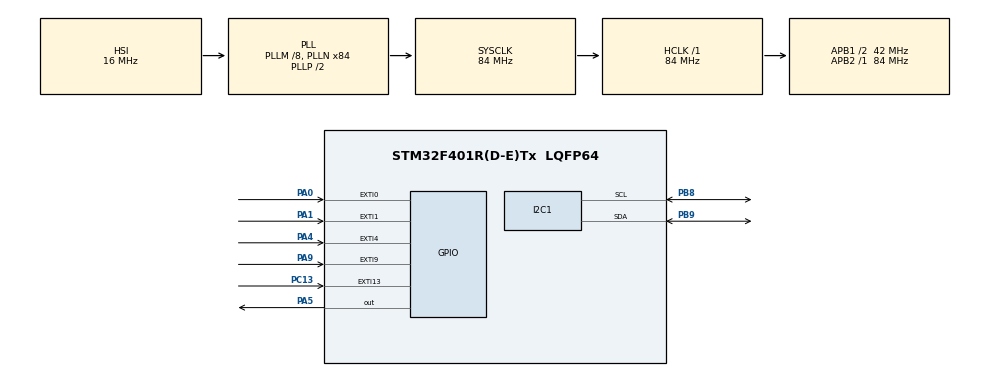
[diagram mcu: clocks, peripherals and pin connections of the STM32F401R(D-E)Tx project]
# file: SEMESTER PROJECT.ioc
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I2C1.I2C_Mode=I2C_Fast
Mcu.Family=STM32F4
Mcu.Name=STM32F401R(D-E)Tx
Mcu.Package=LQFP64
NVIC.EXTI0_IRQn=true\:0\:0\:false\:false\:true\:true\:true\:true
NVIC.EXTI15_10_IRQn=true\:0\:0\:false\:false\:true\:true\:true\:true
NVIC.EXTI1_IRQn=true\:0\:0\:false\:false\:true\:true\:true\:true
NVIC.EXTI4_IRQn=true\:0\:0\:false\:false\:true\:true\:true\:true
NVIC.EXTI9_5_IRQn=true\:0\:0\:false\:false\:true\:true\:true\:true
NVIC.PriorityGroup=NVIC_PRIORITYGROUP_0
NVIC.TIM2_IRQn=true\:0\:1\:false\:false\:true\:true\:true\:true
PA0-WKUP.GPIO_PuPd=GPIO_PULLDOWN
PA0-WKUP.Signal=GPXTI0
PA1.GPIO_PuPd=GPIO_PULLDOWN
PA1.Signal=GPXTI1
PA4.GPIO_PuPd=GPIO_PULLDOWN
PA4.Signal=GPXTI4
PA5.Signal=GPIO_Output
PA9.GPIO_PuPd=GPIO_PULLDOWN
PA9.Signal=GPXTI9
PB8.Mode=I2C
PB8.Signal=I2C1_SCL
PB9.Mode=I2C
PB9.Signal=I2C1_SDA
PC13-ANTI_TAMP.GPIO_PuPd=GPIO_PULLDOWN
PC13-ANTI_TAMP.Signal=GPXTI13
PH0\ -\ OSC_IN.Mode=HSE-External-Oscillator
PH0\ -\ OSC_IN.Signal=RCC_OSC_IN
PH1\ -\ OSC_OUT.Mode=HSE-External-Oscillator
PH1\ -\ OSC_OUT.Signal=RCC_OSC_OUT
ProjectManager.HeapSize=0x200
ProjectManager.StackSize=0x400
ProjectManager.TargetToolchain=STM32CubeIDE
RCC.48MHZClocksFreq_Value=24000000
RCC.AHBFreq_Value=84000000
RCC.APB1CLKDivider=RCC_HCLK_DIV2
RCC.APB1Freq_Value=42000000
RCC.APB1TimFreq_Value=84000000
RCC.APB2Freq_Value=84000000
RCC.APB2TimFreq_Value=84000000
RCC.CortexFreq_Value=84000000
RCC.HCLKFreq_Value=84000000
RCC.HSE_VALUE=8000000
RCC.HSI_VALUE=16000000
RCC.LSE_VALUE=32768
RCC.PLLM=8
RCC.PLLN=84
RCC.PLLQ=7
RCC.SYSCLKFreq_VALUE=84000000
RCC.SYSCLKSource=RCC_SYSCLKSOURCE_PLLCLK
RCC.VCOOutputFreq_Value=168000000
RTC.Date=29
RTC.Minutes=25
RTC.Month=RTC_MONTH_MAY
RTC.Seconds=10
RTC.WeekDay=RTC_WEEKDAY_SUNDAY
RTC.Year=22
TIM2.CounterMode=TIM_COUNTERMODE_UP
TIM2.Period=19999
TIM2.Prescaler=41999
VP_RTC_VS_RTC_Activate.Mode=RTC_Enabled
VP_RTC_VS_RTC_Calendar.Mode=RTC_Calendar
VP_TIM2_VS_ClockSourceINT.Mode=Internal
board=NUCLEO-F401RE

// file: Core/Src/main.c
/* USER CODE BEGIN Header */
/**
  ******************************************************************************
  * @file           : main.c
  * @brief          : Main program body
  ******************************************************************************
  * @attention
  *
  * Copyright (c) 2022 STMicroelectronics.
  * All rights reserved.
  *
  * This software is licensed under terms that can be found in the LICENSE file
  * in the root directory of this software component.
  * If no LICENSE file comes with this software, it is provided AS-IS.
  *
  ******************************************************************************
  */
/* USER CODE END Header */
#include "main.h"

/* USER CODE BEGIN Includes */
#include "bmp180.h"
#include "stdio.h"
#include "string.h"
/* USER CODE END Includes */

 I2C_HandleTypeDef hi2c1;

RTC_HandleTypeDef hrtc;

TIM_HandleTypeDef htim2;

/* USER CODE BEGIN PV */
float mytemperature,momenterytemp;
float minValueDay,maxValueDay,minValue,maxValue;
uint8_t myDeviceAdress=0x4E;
char my_str[17],my_str2[5], time[10],date[10],conc[25];
uint32_t a=0,pagecount=0;
int hal_start=1;
int dailyexample=0,page,offset;
/* USER CODE END PV */

void SystemClock_Config(void);
static void MX_GPIO_Init(void);
static void MX_I2C1_Init(void);
static void MX_RTC_Init(void);
static void MX_TIM2_Init(void);
/* USER CODE BEGIN PFP */
typedef enum {DisplayState_EraseEEPROM,DisplayState_MaxValueDay,DisplayState_MinValueDay,DisplayState_MinValue,DisplayState_MaxValue,DisplayState_Update} TDisplayState;
TDisplayState DisplayState= DisplayState_Update;
/* USER CODE END PFP */

/* USER CODE BEGIN 0 */
void delay(uint32_t time)
{
while(time--);
}
void HAL_TIM_PeriodElapsedCallback(TIM_HandleTypeDef *htim)
{
	mytemperature=momenterytemp;
	while(a!=0)
	{
		if(momenterytemp>maxValue)
		{
		maxValue=momenterytemp;
		}
	    if(momenterytemp<minValue)
		{
		minValue=momenterytemp;
		}
		if(momenterytemp>maxValueDay)
	    {
		maxValueDay=momenterytemp;
		}
		if(momenterytemp<minValueDay)
		{
		minValueDay=momenterytemp;
		}
        a=0;
	}

	if(dailyexample==2880)
	{
		maxValueDay=momenterytemp;
		minValueDay=momenterytemp;
		dailyexample=0;
	}
	a++;
	dailyexample++;
}
void set_time(void)
{
	  RTC_TimeTypeDef sTime = {0};
	  RTC_DateTypeDef sDate = {0};
	  /** Initialize RTC and set the Time and Date
	  */
	  sTime.Hours = 0x13;
	  sTime.Minutes = 0x30;
	  sTime.Seconds = 0x10;
	  sTime.DayLightSaving = RTC_DAYLIGHTSAVING_NONE;
	  sTime.StoreOperation = RTC_STOREOPERATION_RESET;
	  if (HAL_RTC_SetTime(&hrtc, &sTime, RTC_FORMAT_BCD) != HAL_OK)
	  {
	    Error_Handler();
	  }
	  sDate.WeekDay = RTC_WEEKDAY_TUESDAY;
	  sDate.Month = RTC_MONTH_MAY;
	  sDate.Date = 0x31;
	  sDate.Year = 0x22;

	  if (HAL_RTC_SetDate(&hrtc, &sDate, RTC_FORMAT_BCD) != HAL_OK)
	  {
	    Error_Handler();
	  }
	  /* USER CODE BEGIN RTC_Init 1 */
       HAL_RTCEx_BKUPWrite(&hrtc,RTC_BKP_DR1, 0x32F2);
	  /* USER CODE END RTC_Init 1 */
}

void get_time(void)
{
	RTC_DateTypeDef gDate;
	RTC_TimeTypeDef gTime;

	HAL_RTC_GetTime(&hrtc,&gTime, RTC_FORMAT_BIN);
	HAL_RTC_GetDate(&hrtc,&gDate, RTC_FORMAT_BIN);

	sprintf((char*)time,"%02d:%02d:%02d",gTime.Hours,gTime.Minutes,gTime.Seconds);

	sprintf((char*)date,"%02d-%02d-%02d",gDate.Date,gDate.Month,gDate.Year+2000);
}
void display_time(void)
{
	  lcd_send_cmd(0x83);
	  lcd_send_string(date);
	  lcd_send_cmd(0xC0);
	  lcd_send_string(time);

}
void WriteToEEPROM(void)
{
	if(dailyexample%20==0)
	{
		sprintf(my_str2,"%.2f",mytemperature);
		strcpy(conc,my_str2);
		strcat(conc,time);
		strcat(conc,date);
		EEPROM_Write(page, offset, conc,23);
		offset+=23;
		pagecount++;
	}
	if(pagecount==2)
	{
		page++;
		offset=0;
		pagecount=0;
	}
}
/* USER CODE END 0 */

int main(void)
{

  /* MCU Configuration--------------------------------------------------------*/

  /* Reset of all peripherals, Initializes the Flash interface and the Systick. */
  HAL_Init();

  /* Configure the system clock */
  SystemClock_Config();

  /* Initialize all configured peripherals */
  MX_GPIO_Init();
  MX_I2C1_Init();
  MX_RTC_Init();
  MX_TIM2_Init();
  /* USER CODE BEGIN 2 */
  BMP180_Init();
  lcd_init();
  lcd_send_cmd(0x01);
  if(HAL_RTCEx_BKUPRead(&hrtc,RTC_BKP_DR1)  != 0x32F2)
   {
	 set_time();
   }
  mytemperature=BMP180_Get_Temperature();
  minValue=mytemperature;
  minValueDay=mytemperature;
  maxValue=mytemperature;
  maxValueDay=mytemperature;
  /* USER CODE END 2 */

  /* Infinite loop */
  while (1)
  {

    /* USER CODE BEGIN 3 */

	        switch(DisplayState)
	        {
	         case DisplayState_EraseEEPROM:
	        	lcd_clear();
	        	delay(1680000);
	        	lcd_send_cmd(0x81);
	        	lcd_send_string("EEPROM ERASING");
	        	lcd_send_cmd(0xC2);
	        	lcd_send_string("WAIT PLEASE");
	        	for(int i=0;i<512;i++)
	        	{
	        		EEPROM_PageErase(i);
	        	}
	        	lcd_clear();
	        	DisplayState=DisplayState_Update;
	        	break;

	        case DisplayState_MaxValue:
	        	    lcd_clear();
	        	    delay(1680000);
	        	    lcd_send_cmd(0x81);
	        	    lcd_send_string("HighValueOfAll");
	              	sprintf(my_str,"%.2f",maxValue);
	            	lcd_send_cmd(0xC9);
	            	lcd_send_string(my_str);
	            	delay(56800000);
	                lcd_clear();
	            	DisplayState=DisplayState_Update;
	        	    break;

	        case DisplayState_MinValue:
	   	        	lcd_clear();
	   	        	delay(1680000);
	   	        	lcd_send_cmd(0x81);
	   	        	lcd_send_string("MinValueOfAll");
	   	        	sprintf(my_str,"%.2f",minValue);
	   	        	lcd_send_cmd(0xC9);
	   	        	lcd_send_string(my_str);
	   	        	delay(56800000);
	   	            lcd_clear();
	   	        	DisplayState=DisplayState_Update;
	   	        	break;

	        case DisplayState_MinValueDay:
	       	   	    lcd_clear();
	   	        	delay(1680000);
	   	        	lcd_send_cmd(0x81);
	       	   	    lcd_send_string("HighValueDay");
	       	   	    sprintf(my_str,"%.2f",maxValueDay);
	       	   	    lcd_send_cmd(0xC9);
	       	   	    lcd_send_string(my_str);
	       	   	    delay(56800000);
	       	   	    lcd_clear();
	       	   	    DisplayState=DisplayState_Update;
	       	   	    break;

	        case DisplayState_MaxValueDay:
	       	   	    lcd_clear();
	       	   	    delay(1680000);
	       	   	    lcd_send_cmd(0x81);
	       	   	    lcd_send_string("MinValueDay");
	       	   	    sprintf(my_str,"%.2f",minValueDay);
	       	   	    lcd_send_cmd(0xC9);
	       	   	    lcd_send_string(my_str);
	       	   	    delay(56800000);
	       	   	    lcd_clear();
	       	   	    DisplayState=DisplayState_Update;
	       	   	    break;

	         default :
	        	    get_time();
		            sprintf(my_str,"%.2f",mytemperature);
                    display_time();
                    lcd_send_cmd(0xC9);
 	                lcd_send_string(my_str);
 	                momenterytemp=BMP180_Get_Temperature();
                    if(hal_start==1)
                  {
            	    HAL_TIM_Base_Start_IT(&htim2);
            	    hal_start=0;
                  }
                    WriteToEEPROM();

	}
  }
  /* USER CODE END 3 */
}

void SystemClock_Config(void)
{
  RCC_OscInitTypeDef RCC_OscInitStruct = {0};
  RCC_ClkInitTypeDef RCC_ClkInitStruct = {0};

  /** Configure the main internal regulator output voltage
  */
  __HAL_RCC_PWR_CLK_ENABLE();
  __HAL_PWR_VOLTAGESCALING_CONFIG(PWR_REGULATOR_VOLTAGE_SCALE2);

  /** Initializes the RCC Oscillators according to the specified parameters
  * in the RCC_OscInitTypeDef structure.
  */
  RCC_OscInitStruct.OscillatorType = RCC_OSCILLATORTYPE_HSI|RCC_OSCILLATORTYPE_LSI;
  RCC_OscInitStruct.HSIState = RCC_HSI_ON;
  RCC_OscInitStruct.HSICalibrationValue = RCC_HSICALIBRATION_DEFAULT;
  RCC_OscInitStruct.LSIState = RCC_LSI_ON;
  RCC_OscInitStruct.PLL.PLLState = RCC_PLL_ON;
  RCC_OscInitStruct.PLL.PLLSource = RCC_PLLSOURCE_HSI;
  RCC_OscInitStruct.PLL.PLLM = 8;
  RCC_OscInitStruct.PLL.PLLN = 84;
  RCC_OscInitStruct.PLL.PLLP = RCC_PLLP_DIV2;
  RCC_OscInitStruct.PLL.PLLQ = 7;
  if (HAL_RCC_OscConfig(&RCC_OscInitStruct) != HAL_OK)
  {
    Error_Handler();
  }

  /** Initializes the CPU, AHB and APB buses clocks
  */
  RCC_ClkInitStruct.ClockType = RCC_CLOCKTYPE_HCLK|RCC_CLOCKTYPE_SYSCLK
                              |RCC_CLOCKTYPE_PCLK1|RCC_CLOCKTYPE_PCLK2;
  RCC_ClkInitStruct.SYSCLKSource = RCC_SYSCLKSOURCE_PLLCLK;
  RCC_ClkInitStruct.AHBCLKDivider = RCC_SYSCLK_DIV1;
  RCC_ClkInitStruct.APB1CLKDivider = RCC_HCLK_DIV2;
  RCC_ClkInitStruct.APB2CLKDivider = RCC_HCLK_DIV1;

  if (HAL_RCC_ClockConfig(&RCC_ClkInitStruct, FLASH_LATENCY_2) != HAL_OK)
  {
    Error_Handler();
  }
}

static void MX_I2C1_Init(void)
{

  hi2c1.Instance = I2C1;
  hi2c1.Init.ClockSpeed = 400000;
  hi2c1.Init.DutyCycle = I2C_DUTYCYCLE_2;
  hi2c1.Init.OwnAddress1 = 0;
  hi2c1.Init.AddressingMode = I2C_ADDRESSINGMODE_7BIT;
  hi2c1.Init.DualAddressMode = I2C_DUALADDRESS_DISABLE;
  hi2c1.Init.OwnAddress2 = 0;
  hi2c1.Init.GeneralCallMode = I2C_GENERALCALL_DISABLE;
  hi2c1.Init.NoStretchMode = I2C_NOSTRETCH_DISABLE;
  if (HAL_I2C_Init(&hi2c1) != HAL_OK)
  {
    Error_Handler();
  }

}

static void MX_RTC_Init(void)
{

  /** Initialize RTC Only
  */
  hrtc.Instance = RTC;
  hrtc.Init.HourFormat = RTC_HOURFORMAT_24;
  hrtc.Init.AsynchPrediv = 127;
  hrtc.Init.SynchPrediv = 255;
  hrtc.Init.OutPut = RTC_OUTPUT_DISABLE;
  hrtc.Init.OutPutPolarity = RTC_OUTPUT_POLARITY_HIGH;
  hrtc.Init.OutPutType = RTC_OUTPUT_TYPE_OPENDRAIN;
  if (HAL_RTC_Init(&hrtc) != HAL_OK)
  {
    Error_Handler();
  }

}

static void MX_TIM2_Init(void)
{

  TIM_ClockConfigTypeDef sClockSourceConfig = {0};
  TIM_MasterConfigTypeDef sMasterConfig = {0};

  htim2.Instance = TIM2;
  htim2.Init.Prescaler = 41999;
  htim2.Init.CounterMode = TIM_COUNTERMODE_UP;
  htim2.Init.Period = 19999;
  htim2.Init.ClockDivision = TIM_CLOCKDIVISION_DIV1;
  htim2.Init.AutoReloadPreload = TIM_AUTORELOAD_PRELOAD_DISABLE;
  if (HAL_TIM_Base_Init(&htim2) != HAL_OK)
  {
    Error_Handler();
  }
  sClockSourceConfig.ClockSource = TIM_CLOCKSOURCE_INTERNAL;
  if (HAL_TIM_ConfigClockSource(&htim2, &sClockSourceConfig) != HAL_OK)
  {
    Error_Handler();
  }
  sMasterConfig.MasterOutputTrigger = TIM_TRGO_RESET;
  sMasterConfig.MasterSlaveMode = TIM_MASTERSLAVEMODE_DISABLE;
  if (HAL_TIMEx_MasterConfigSynchronization(&htim2, &sMasterConfig) != HAL_OK)
  {
    Error_Handler();
  }

}

static void MX_GPIO_Init(void)
{
  GPIO_InitTypeDef GPIO_InitStruct = {0};

  /* GPIO Ports Clock Enable */
  __HAL_RCC_GPIOC_CLK_ENABLE();
  __HAL_RCC_GPIOH_CLK_ENABLE();
  __HAL_RCC_GPIOA_CLK_ENABLE();
  __HAL_RCC_GPIOB_CLK_ENABLE();

  /*Configure GPIO pin Output Level */
  HAL_GPIO_WritePin(GPIOA, GPIO_PIN_5, GPIO_PIN_RESET);

  /*Configure GPIO pin : PC13 */
  GPIO_InitStruct.Pin = GPIO_PIN_13;
  GPIO_InitStruct.Mode = GPIO_MODE_IT_RISING;
  GPIO_InitStruct.Pull = GPIO_PULLDOWN;
  HAL_GPIO_Init(GPIOC, &GPIO_InitStruct);

  /*Configure GPIO pins : PA0 PA1 PA4 PA9 */
  GPIO_InitStruct.Pin = GPIO_PIN_0|GPIO_PIN_1|GPIO_PIN_4|GPIO_PIN_9;
  GPIO_InitStruct.Mode = GPIO_MODE_IT_RISING;
  GPIO_InitStruct.Pull = GPIO_PULLDOWN;
  HAL_GPIO_Init(GPIOA, &GPIO_InitStruct);

  /*Configure GPIO pin : PA5 */
  GPIO_InitStruct.Pin = GPIO_PIN_5;
  GPIO_InitStruct.Mode = GPIO_MODE_OUTPUT_PP;
  GPIO_InitStruct.Pull = GPIO_NOPULL;
  GPIO_InitStruct.Speed = GPIO_SPEED_FREQ_LOW;
  HAL_GPIO_Init(GPIOA, &GPIO_InitStruct);

  /* EXTI interrupt init*/
  HAL_NVIC_SetPriority(EXTI0_IRQn, 0, 0);
  HAL_NVIC_EnableIRQ(EXTI0_IRQn);

  HAL_NVIC_SetPriority(EXTI1_IRQn, 0, 0);
  HAL_NVIC_EnableIRQ(EXTI1_IRQn);

  HAL_NVIC_SetPriority(EXTI4_IRQn, 0, 0);
  HAL_NVIC_EnableIRQ(EXTI4_IRQn);

  HAL_NVIC_SetPriority(EXTI9_5_IRQn, 0, 0);
  HAL_NVIC_EnableIRQ(EXTI9_5_IRQn);

  HAL_NVIC_SetPriority(EXTI15_10_IRQn, 0, 0);
  HAL_NVIC_EnableIRQ(EXTI15_10_IRQn);

}

void Error_Handler(void)
{
  __disable_irq();
  while (1)
  {
  }
}
